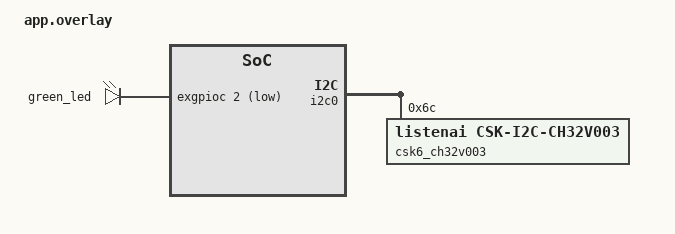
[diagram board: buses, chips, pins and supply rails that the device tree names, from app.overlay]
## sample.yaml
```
sample:
  name: exmcu_gpio_led Sample

tests:
  sample.board.csk6.drivers.exmcu.gpio_led:
    harness: console
    platform_allow: csk6_duomotai_devkit
    harness_config:
      fixture: ch32v003
      type: one_line
      regex:
        - "GPIO LOOPBACK TEST OK"
```

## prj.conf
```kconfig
CONFIG_GPIO=y
CONFIG_GPIO_CSK6_CH32V003=y
CONFIG_LOG=y
CONFIG_LOG_PRINTK=y
CONFIG_LOG_MODE_IMMEDIATE=y
CONFIG_ZTEST=y
CONFIG_TEST_USERSPACE=y
```

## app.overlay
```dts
&i2c0 {
    status = "okay";
    pinctrl-0 = <&pinctrl_i2c0_scl_default &pinctrl_i2c0_sda_default>;
    pinctrl-names = "default";


    csk6_ch32v003: csk6_ch32v003@6c {
        /**
         * Please make sure that the external MCU firmware has been loaded
         * SCL --> external MCU PC5
         * SDA --> external MCU PC6
         */
        compatible = "listenai,csk-i2c-ch32v003";
        reg = <0x6c>;
        status = "okay";
        #address-cells = <1>;
        #size-cells = <0>;

        /* CH32V003-GPIOA */
        exgpioa: gpio@0 {
            compatible = "listenai,csk-gpio-ch32003-port";
            reg = <0x00>;
            status = "okay";
            ngpios = <8>;
            #gpio-cells = <2>;
            gpio-controller;
            pin_mask = <0x00>;
        };

        /* CH32V003-GPIOB */
        exgpiob: gpio@1 {
            compatible = "listenai,csk-gpio-ch32003-port";
            reg = <0x01>;
            status = "okay";
            ngpios = <8>;
            #gpio-cells = <2>;
            gpio-controller;
            pin_mask = <0x00>;
        };

        /* CH32V003-GPIOC */
        exgpioc: gpio@2 {
            compatible = "listenai,csk-gpio-ch32003-port";
            reg = <0x02>;
            status = "okay";
            ngpios = <8>;
            #gpio-cells = <2>;
            gpio-controller;
            pin_mask = <0x00>;
        };

        /* CH32V003-GPIOD */
        exgpiod: gpio@3 {
            compatible = "listenai,csk-gpio-ch32003-port";
            reg = <0x03>;
            status = "okay";
            ngpios = <8>;
            #gpio-cells = <2>;
            gpio-controller;
            pin_mask = <0x00>;
        };
    };
};

&green_led {
    gpios = <&exgpioc 2 1>;
};

/ {
    aliases {
        csk6-exmcu = &csk6_ch32v003;
    };
};
```

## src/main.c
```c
/*
 * Copyright (c) 2023 Anhui(Shenzhen) Listenai Co., Ltd.
 *
 * SPDX-License-Identifier: Apache-2.0
 */

#include "zephyr/ztest_assert.h"
#include <zephyr/device.h>
#include <zephyr/devicetree.h>
#include <zephyr/drivers/gpio.h>
#include <zephyr/kernel.h>
#include <zephyr/ztest.h>

typedef struct exgpio_test_pin {
	const struct device *dev;
	int pin;
} exgpio_test_pin_t;

typedef struct exgpio_test_group {
	exgpio_test_pin_t a;
	exgpio_test_pin_t b;
} exgpio_test_group_t;

#define EXGPIO_TEST_OUTPUT(status, fmt, ...)                                                       \
	printk("[%s][TEST][EXGPIO]:%s, " fmt "\n", (status) ? " PASS " : "FAILED", __FUNCTION__,   \
	       __VA_ARGS__)

#define EXGPIO_TEST_GROUP_DEFINE(dev1_name, pin1, dev2_name, pin2)                                 \
	{                                                                                          \
		.a =                                                                               \
			{                                                                          \
				.dev = DEVICE_DT_GET(DT_NODELABEL(dev1_name)),                     \
				.pin = pin1,                                                       \
			},                                                                         \
		.b = {.dev = DEVICE_DT_GET(DT_NODELABEL(dev2_name)),                               \
		      .pin = pin2,                                                                 \
		}                                                                                  \
	}

const static struct exgpio_test_group groups[] = {
	EXGPIO_TEST_GROUP_DEFINE(exgpioc, 2, exgpioc, 3),
};

static uint8_t exgpio_test_group_case_output_input(const struct device *dev_out, int out_pin,
						   const struct device *dev_in, int in_pin,
						   uint8_t test_level)
{
	gpio_pin_configure(dev_out, out_pin, GPIO_OUTPUT);
	gpio_pin_configure(dev_in, in_pin, GPIO_INPUT);
	gpio_pin_set_raw(dev_out, out_pin, test_level);

	/* sleep sometimes to wait exmcu detect level changed */
	k_msleep(10);
	int value = gpio_pin_get_raw(dev_in, in_pin);

	// printk("[TEST]%s%d-->%s%d, level:%s, STATUS: %s\n", dev_out->name, out_pin, dev_in->name,
	//        in_pin, test_level ? "HIGH" : "LOW", value == test_level ? "OK" : "FAIL");
	EXGPIO_TEST_OUTPUT(value == test_level, "%s:%d-->[%s]-->%s:%d(%d)", dev_out->name,
			   out_pin, test_level ? "HIGH" : "LOW ", dev_in->name, in_pin, value);

	return value == test_level;
}

static uint8_t exgpio_test_group_pull_mode(const struct device *dev_in1, int in_pin1,
					const struct device *dev_in2, int in_pin2,
					uint8_t pull_mode)
{
	gpio_pin_configure(dev_in1, in_pin1,
			   GPIO_INPUT | (pull_mode ? GPIO_PULL_UP : GPIO_PULL_DOWN));
	gpio_pin_configure(dev_in2, in_pin2,
			   GPIO_INPUT | (pull_mode ? GPIO_PULL_UP : GPIO_PULL_DOWN));
	/* sleep sometimes to wait exmcu detect level changed */
	k_msleep(200);
	int value1 = gpio_pin_get_raw(dev_in1, in_pin1);
	int value2 = gpio_pin_get_raw(dev_in2, in_pin2);

	EXGPIO_TEST_OUTPUT(((value1 == value2) & (value1 == pull_mode)), "%s:%d<--[%s]-->%s:%d",
			   dev_in1->name, in_pin1, pull_mode ? " UP " : "DOWN", dev_in2->name,
			   in_pin2);

	return ((value1 == value2) & (value1 == pull_mode));
}

ZTEST(exmcu_gpio, test_exgpio_input_output)
{
	int i;
	uint8_t check;

	for (i = 0; i < sizeof(groups) / sizeof(groups[0]); i++) {
		zassert_true(device_is_ready(groups[i].a.dev), "group %d, device %s is not ready", i,
			groups[i].a.dev->name);
		zassert_true(device_is_ready(groups[i].b.dev), "group %d, device %s is not ready", i,
			groups[i].b.dev->name);
		check = exgpio_test_group_case_output_input(groups[i].a.dev, groups[i].a.pin,
							     groups[i].b.dev, groups[i].b.pin, 1);
		zassert_true(check, "out input failed, group:%d", i);
		check = exgpio_test_group_case_output_input(groups[i].a.dev, groups[i].a.pin,
							     groups[i].b.dev, groups[i].b.pin, 0);
		zassert_true(check, "out input failed, group:%d", i);
		check = exgpio_test_group_case_output_input(groups[i].a.dev, groups[i].a.pin,
							     groups[i].b.dev, groups[i].b.pin, 1);
		zassert_true(check, "out input failed, group:%d", i);
		check = exgpio_test_group_case_output_input(groups[i].b.dev, groups[i].b.pin,
							     groups[i].a.dev, groups[i].a.pin, 1);
		zassert_true(check, "out input failed, group:%d", i);
		check = exgpio_test_group_case_output_input(groups[i].b.dev, groups[i].b.pin,
							     groups[i].a.dev, groups[i].a.pin, 0);
		zassert_true(check, "out input failed, group:%d", i);
		check = exgpio_test_group_case_output_input(groups[i].b.dev, groups[i].b.pin,
							     groups[i].a.dev, groups[i].a.pin, 1);
		zassert_true(check, "out input failed, group:%d", i);
	}
}

ZTEST(exmcu_gpio, test_exgpio_pull_mode_test)
{
	int i;
	for (i = 0; i < sizeof(groups) / sizeof(groups[0]); i++) {
		if (!device_is_ready(groups[i].a.dev)) {
			printk("group %d, device %s is not ready\n", i, groups[i].a.dev->name);
		}

		if (!device_is_ready(groups[i].b.dev)) {
			printk("group %d, device %s is not ready\n", i, groups[i].b.dev->name);
		}

		printk("\n-------PULL,GROUP %d-------\n", i);
		exgpio_test_group_pull_mode(groups[i].a.dev, groups[i].a.pin, groups[i].b.dev,
					    groups[i].b.pin, 0);
		exgpio_test_group_pull_mode(groups[i].a.dev, groups[i].a.pin, groups[i].b.dev,
					    groups[i].b.pin, 1);
		exgpio_test_group_pull_mode(groups[i].a.dev, groups[i].a.pin, groups[i].b.dev,
					    groups[i].b.pin, 0);
		exgpio_test_group_pull_mode(groups[i].a.dev, groups[i].a.pin, groups[i].b.dev,
					    groups[i].b.pin, 1);
		exgpio_test_group_pull_mode(groups[i].a.dev, groups[i].a.pin, groups[i].b.dev,
					    groups[i].b.pin, 0);
	}
}

ZTEST_SUITE(exmcu_gpio, NULL, NULL, NULL, NULL, NULL);
```
